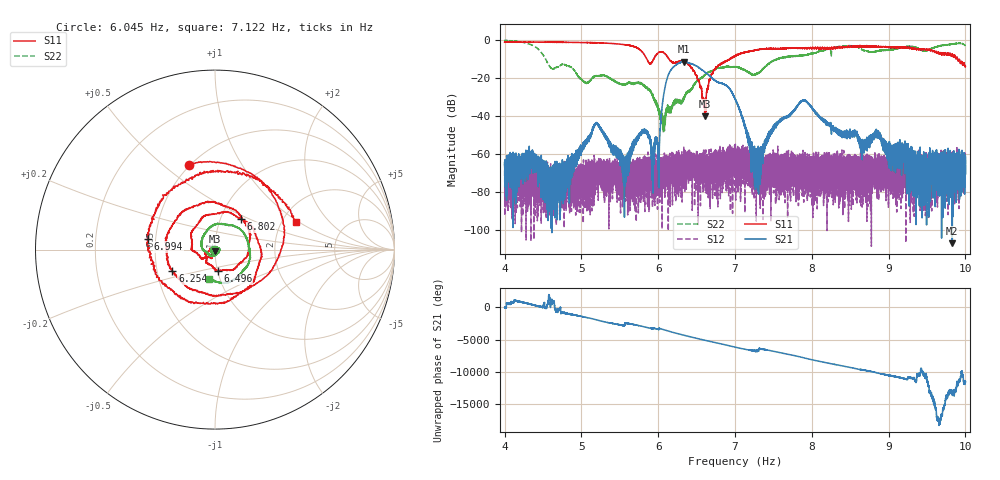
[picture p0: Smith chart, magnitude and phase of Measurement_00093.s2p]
!Created with skrf (http://scikit-rf.org).
# Hz S RI R 50.0
!freq ReS11 ImS11 ReS21 ImS21 ReS12 ImS12 ReS22 ImS22
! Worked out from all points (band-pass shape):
!   14001 points, 4 Hz to 10 Hz, reference 50 ohm
!   highest |S21| = -11.35 dB at 6.338 Hz (marker M1); lowest = -107.0 dB at 9.829 Hz (marker M2)
!   |S21| within 3 dB of the highest: 6.192975 Hz to 6.193026 Hz (51.05 uHz wide, 0.000824 % of centre); 6.194 Hz to 6.526 Hz (332.1 mHz wide, 5.22 % of centre)
!   lowest |S11| = -40.1 dB at 6.612 Hz (marker M3), VSWR 1.02, Z = 50 - j0.986 ohm
!   |S11| at or under -10 dB: 5.853 Hz to 5.94 Hz (86.65 mHz wide, 1.47 % of centre); 6.142 Hz to 6.929 Hz (787.4 mHz wide, 12 % of centre); 9.899 Hz to end of sweep (the widest 3 of 4)
!   |S22| runs from -48.8 to -0.2 dB; largest |S21 - S12| = 0.27
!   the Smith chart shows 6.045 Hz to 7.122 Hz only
!   S11 on the Smith chart (normalised r, x): 6.045 Hz: 0.49, +0.62; 6.254 Hz: 0.60, -0.16; 6.496 Hz: 1.00, -0.25; 6.802 Hz: 1.25, +0.45; 6.994 Hz: 0.45, +0.06; 7.122 Hz: 2.38, +0.97
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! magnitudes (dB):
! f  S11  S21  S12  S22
! 4 Hz  -1.0  -65.8  -71.0  -0.2
! 4.606 Hz  -1.1  -76.2  -73.0  -14.8
! 5 Hz  -1.2  -57.7  -81.1  -20.7
! 5.197 Hz  -1.4  -43.7  -70.1  -18.7
! 5.56 Hz  -2.4  -93.3  -65.3  -23.5
! 5.798 Hz  -6.4  -47.6  -63.4  -23.5
! 6 Hz  -6.7  -59.6  -65.9  -35.1
! 6.045 Hz  -6.1  -37.4  -79.8  -43.2
! 6.254 Hz  -11.5  -12.5  -70.8  -31.8
! 6.338 Hz  -11.5  -11.3  -64.6  -31.1
! 6.496 Hz  -18.3  -13.6  -61.2  -22.1
! 6.612 Hz  -40.1  -17.0  -71.0  -18.2
! 6.802 Hz  -13.1  -22.5  -60.7  -14.5
! 6.994 Hz  -8.5  -30.3  -67.6  -14.2
! 7 Hz  -8.3  -30.8  -69.1  -14.0
! 7.122 Hz  -6.4  -45.3  -61.6  -15.6
! 7.296 Hz  -5.0  -60.5  -64.0  -17.4
! 7.568 Hz  -4.6  -43.0  -63.0  -9.8
! 8 Hz  -4.4  -35.5  -87.4  -6.9
! 9 Hz  -3.8  -58.7  -60.1  -5.0
! 9.829 Hz  -7.4  -107.0  -67.4  -2.2
! 10 Hz  -13.8  -70.6  -67.1  -3.1
